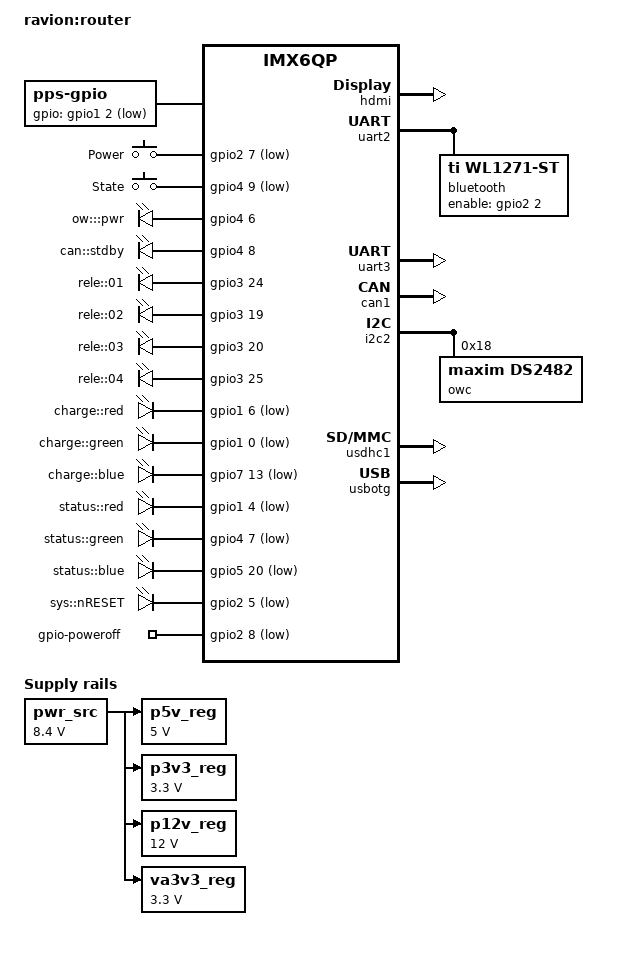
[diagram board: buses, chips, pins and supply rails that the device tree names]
/*
 * Copyright 2018 Radioavionica Corp.
 *
 * Author: Alex A. Mihaylov <minimumlaw@rambler.ru>
 *
 * This program is free software; you can redistribute it and/or modify
 * it under the terms of the GNU General Public License version 2 as
 * published by the Free Software Foundation.
 *
 */
/dts-v1/;
#include "imx6qp.dtsi"
#include "imx6qdl-ravion-v2.dtsi"

/delete-node/&audmux;
/delete-node/&ssi1;
/delete-node/&sgtl5000;
/delete-node/&module_sound;

/ {
	model = "ravion:router";
	compatible = "ravion,imx6qp", "fsl,imx6qp";

	/*
	 * Device specific regulators
	 */
	pwr_src: regulator_power {
		compatible = "regulator-fixed";
		regulator-name = "BATT_IN";
		/* FixMe: 5...8.4V input voltage */
		regulator-min-microvolt = <8400000>;
		regulator-max-microvolt = <8400000>;
		regulator-boot-on;
		regulator-always-on;
	};

	p5v_reg: regulator_5v0 {
		compatible = "regulator-fixed";
		regulator-name = "P5V";
		regulator-min-microvolt = <5000000>;
		regulator-max-microvolt = <5000000>;
		vin-supply = <&pwr_src>;
		regulator-boot-on;
		regulator-always-on;
	};

	p3v3_reg: regulator_3v3 {
		compatible = "regulator-fixed";
		regulator-name = "P3V3";
		regulator-min-microvolt = <3300000>;
		regulator-max-microvolt = <3300000>;
		vin-supply = <&pwr_src>;
		regulator-boot-on;
		regulator-always-on;
	};

	p12v_reg: regulator_12v {
		compatible = "regulator-fixed";
		regulator-name = "P12V";
		regulator-min-microvolt = <12000000>;
		regulator-max-microvolt = <12000000>;
		vin-supply = <&pwr_src>;
		regulator-boot-on;
		regulator-always-on; /* XP61: enable/disable reg. */
	};

	va3v3_reg: regulator_3v3va {
		compatible = "regulator-fixed";
		regulator-name = "VA3V3";
		regulator-min-microvolt = <3300000>;
		regulator-max-microvolt = <3300000>;
		vin-supply = <&pwr_src>;
		regulator-boot-on;
		regulator-always-on;
	};

	pps {
		compatible = "pps-gpio";
		gpios	= <&gpio1  2 GPIO_ACTIVE_LOW>;		/* soDimm 055 */
	};

	gpio-keys {
		compatible = "gpio-keys";

		power {
			label = "Power";
			gpios = <&gpio2 7 GPIO_ACTIVE_LOW>;	/* soDimm 125 */
			linux,code = <KEY_POWER>;
			debounce-interval = <100>;
			wakeup-source;
		};

		state {
			label = "State";
			gpios = <&gpio4 9 GPIO_ACTIVE_LOW>;	/* soDimm 152 */
			linux,code = <KEY_F1>;
			debounce-interval = <100>;
			wakeup-source;
		};
	};

	gpio-leds {
		pinctrl-names = "default";
		pinctrl-0 = <&pinctrl_uart1gpio>;
		compatible = "gpio-leds";

		pwr_ow {
			label = "ow:::pwr";
			gpios = <&gpio4 6 GPIO_ACTIVE_HIGH>;	/* soDimm 124 */
			default-state = "on";
		};

		stby_can {
			label = "can::stdby";
			gpios = <&gpio4  8 GPIO_ACTIVE_HIGH>;	/* soDimm 150 */
			default-state = "off";
		};

		rele_01 {
			label = "rele::01";
			gpios = <&gpio3 24 GPIO_ACTIVE_HIGH>;	/* soDimm 23 */
			default-state = "off";
		};

		rele_02 {
			label = "rele::02";
			gpios = <&gpio3 19 GPIO_ACTIVE_HIGH>;	/* soDimm 25 */
			default-state = "off";
		};

		rele_03 {
			label = "rele::03";
			gpios = <&gpio3 20 GPIO_ACTIVE_HIGH>;	/* soDimm 27 */
			default-state = "off";
		};

		rele_04 {
			label = "rele::04";
			gpios = <&gpio3 25 GPIO_ACTIVE_HIGH>;	/* soDimm 29 */
			default-state = "off";
		};

		charge_red {
			label = "charge::red";
			gpios = <&gpio1  6 GPIO_ACTIVE_LOW>;	/* soDimm 180 */
			default-state = "off";
			};

		charge_green {
			label = "charge::green";
			gpios = <&gpio1  0 GPIO_ACTIVE_LOW>;	/* soDimm184 */
			default-state = "off";
		};

		charge_blue {
			label = "charge::blue";
			gpios = <&gpio7 13 GPIO_ACTIVE_LOW>;	/* soDimm186 */
			default-state = "off";
		};

		status_red {
			label = "status::red";
			gpios = <&gpio1  4 GPIO_ACTIVE_LOW>;	/* soDimm188 */
			default-state = "off";
		};

		status_green {
			label = "status::green";
			gpios = <&gpio4  7 GPIO_ACTIVE_LOW>;	/* soDimm190 */
			default-state = "off";
		};

		status_blue {
			label = "status::blue";
			linux,default-trigger = "heartbeat";
			gpios = <&gpio5 20 GPIO_ACTIVE_LOW>;	/* soDimm192 */
			default-state = "on";
		};

		sys_reset {
			label = "sys::nRESET";
			gpios = <&gpio2 5 GPIO_ACTIVE_LOW>;	/* soDimm 121 */
			default-state = "off";
		};
	};

	gpio-poweroff {
		compatible = "gpio-poweroff";
		gpios = <&gpio2 8 GPIO_ACTIVE_LOW>;		/* soDimm 127 */
	};
};

/*
 * Sound subsystem
 */
&ssi2	{	status = "disabled";	};

/*
 * Video subsystems
 */
/* HDMI */
&hdmi {		status = "okay";	};
/* TFT */
&tft_display_bus { status = "disabled"; };
/* LVDS */
&ldb {		status = "disabled";	};

/*
 * Serial ports
 */
/* &uart1 {	status = "okay";	}; => Allways enabled */
&uart2 {
	status = "okay";

	bluetooth { /* DD19: CC2564CRVM */
		enable-gpios = <&gpio2 2 GPIO_ACTIVE_HIGH>;	/* soDimm 115 */
		compatible = "ti,wl1271-st";
		clocks = <&clk_32k_bt 0>;
		clock-names = "ext_clock";
		max-speed = <3686400>;
		current-speed = <115200>;
		status = "okay";

		clk_32k_bt: bt_clk {
			compatible = "fixed-clock";
			#clock-cells = <0>;
			clock-frequency = <32768>;
			clock-accuracy = <100>;
		};
	};
};
&uart3 {	status = "okay";	};

/*
 * Controller Area Network (CAN) Bus
 */
&can1 {		status = "okay";	};

/*
 * I2C Busses
 */
&i2c2 {	/* Compatible I2C: soDimm 194, 196 */
	status = "okay";

	owc: ds2482@18 { /* DS2484: I2C to OneWire Converter */
		status = "okay";
		compatible = "maxim,ds2482";
		reg = <0x18>;
	};
};

/* Extended I2C: soDimm 128, 130 */
&i2c3 {		status = "disabled";	};

&mipi_csi {	status = "disabled";	};

/*
 * SPI Bus
 */
&ecspi1 {	status = "disabled"; };

/*
 * SD/MMC and eMMC controllers
 */
&usdhc1 {	status = "okay";	}; /* compatible */
&usdhc2 {	status = "disabled";	}; /* externed */
/* &usdhc3 {	status = "okay";	}; => eMMC allways enabled */

/*
 * Ethernet controller
 */
/* &fec {	status = "okay";	}; => eth0 allways enabled */

/*
 * Audio (digital part)
 */
/* &audmux {	status = "okay";	}; => Allways enabled */
/* &ssi1 {	status = "okay";	}; => Allways enabled */

/*
 * High-speed serial bus
 */
&pcie {		status = "disabled";	};
&sata {		status = "disabled";	};

/* &usbh1 {	status = "okay";	}; HOST => Allways enabled */

&usbotg	{ /* OTG */
	power-active-high;
	status = "okay";
};

&usbh3 { /* HSIC */
	status = "disabled";
	#address-cells = <1>;
	#size-cells = <0>;
};

/*
 * PWMs
 */
&pwm3	{	status = "disabled";	};
&pwm4	{	status = "disabled";	};

